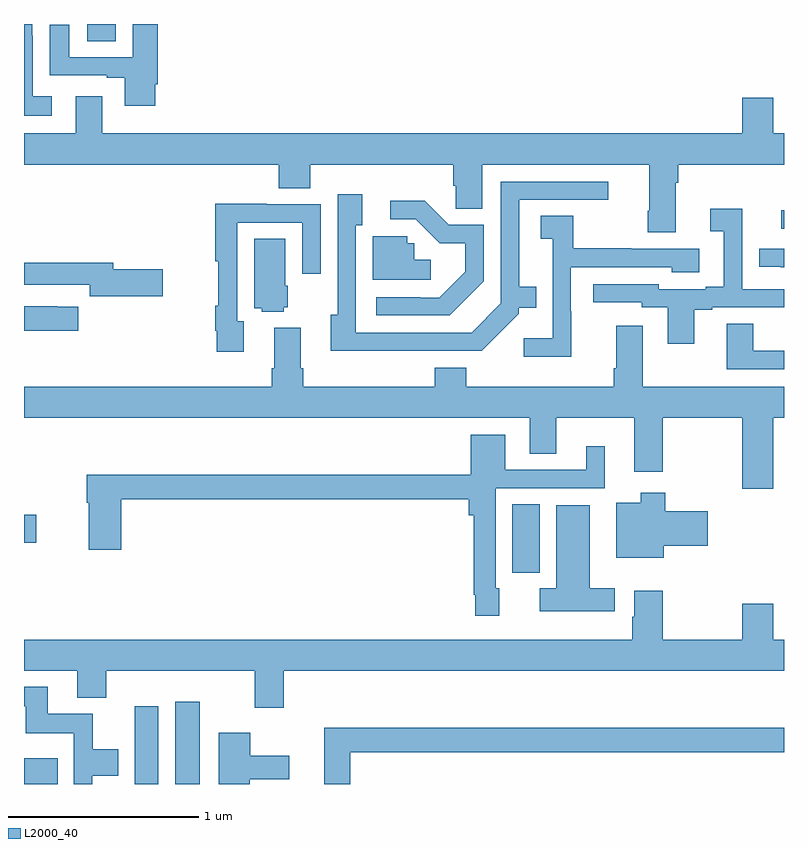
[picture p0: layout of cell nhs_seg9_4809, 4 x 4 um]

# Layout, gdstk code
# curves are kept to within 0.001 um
import gdstk
lib = gdstk.Library(unit=1e-6, precision=1e-09)
def R(c, l, rs):  # rectangles x0, y0, x1, y1
    for r in rs: c.add(gdstk.rectangle(r[:2], r[2:], *l))
def P(c, l, *ps):  # polygons
    for p in ps: c.add(gdstk.Polygon(p, *l))
L2000_40 = (2000, 40)

nhs_seg9_4809 = lib.new_cell('nhs_seg9_4809')
R(nhs_seg9_4809, L2000_40, [(389,1186.5,389.177,1186.636), (389.582,1186.5,389.707,1186.909), (389.795,1186.5,389.926,1186.933), (391.571,1187.611,391.714,1187.972), (389,1187.771,389.065,1187.918), (392.985,1189.422,393,1189.521), (389.333,1190.41,389.482,1190.5)])
P(nhs_seg9_4809, L2000_40, [(389.146,1190.119),(389.047,1190.119),(389.047,1190.438),(389.043,1190.438),(389.043,1190.5),(389,1190.5),(389,1190.018),(389.146,1190.018)],
  [(389.692,1190.182),(389.705,1190.182),(389.705,1190.5),(389.573,1190.5),(389.573,1190.325),(389.239,1190.325),(389.239,1190.497),(389.135,1190.497),(389.135,1190.229),(389.435,1190.229),(389.435,1190.217),(389.531,1190.217),(389.531,1190.07),(389.692,1190.07)],
  [(392.431,1189.664),(392.444,1189.664),(392.444,1189.76),(393,1189.76),(393,1189.924),(392.944,1189.924),(392.944,1190.113),(392.78,1190.113),(392.78,1189.924),(389.413,1189.924),(389.413,1190.119),(389.273,1190.119),(389.273,1189.924),(389,1189.924),(389,1189.76),(390.341,1189.76),(390.341,1189.636),(390.506,1189.636),(390.506,1189.76),(391.259,1189.76),(391.259,1189.65),(391.273,1189.65),(391.273,1189.528),(391.411,1189.528),(391.411,1189.76),(392.291,1189.76),(392.291,1189.516),(392.284,1189.516),(392.284,1189.404),(392.431,1189.404)],
  [(391.079,1188.78),(391.41,1188.78),(391.605,1188.975),(391.605,1189.007),(391.697,1189.007),(391.697,1189.117),(391.606,1189.117),(391.606,1189.575),(392.074,1189.575),(392.074,1189.671),(391.509,1189.671),(391.509,1189.029),(391.356,1188.876),(390.747,1188.876),(390.747,1189.442),(390.781,1189.442),(390.781,1189.603),(390.651,1189.603),(390.651,1188.97),(390.614,1188.97),(390.614,1188.779)],
  [(391.419,1189.145),(391.419,1189.443),(391.236,1189.443),(391.108,1189.571),(390.927,1189.571),(390.927,1189.473),(391.062,1189.473),(391.189,1189.346),(391.322,1189.346),(391.322,1189.196),(391.185,1189.059),(391.085,1189.059),(391.085,1189.062),(390.855,1189.062),(390.855,1188.966),(391.24,1188.966)],
  [(390.157,1188.935),(390.123,1188.935),(390.123,1189.455),(390.465,1189.455),(390.465,1189.185),(390.561,1189.185),(390.561,1189.551),(390.277,1189.551),(390.277,1189.555),(390.007,1189.555),(390.007,1189.251),(390.022,1189.251),(390.022,1189.018),(390.007,1189.018),(390.007,1188.886),(390.015,1188.886),(390.015,1188.774),(390.157,1188.774)],
  [(392.527,1188.996),(392.623,1188.996),(392.623,1189.008),(393,1189.008),(393,1189.104),(392.781,1189.104),(392.781,1189.528),(392.613,1189.528),(392.613,1189.408),(392.684,1189.408),(392.684,1189.117),(392.588,1189.117),(392.588,1189.104),(392.34,1189.104),(392.34,1189.131),(391.995,1189.131),(391.995,1189.035),(392.25,1189.035),(392.25,1189.008),(392.387,1189.008),(392.387,1188.816),(392.527,1188.816)],
  [(391.881,1188.989),(391.878,1188.989),(391.878,1189.221),(392.409,1189.221),(392.409,1189.193),(392.554,1189.193),(392.554,1189.317),(392.195,1189.317),(392.195,1189.32),(391.891,1189.32),(391.891,1189.49),(391.719,1189.49),(391.719,1189.369),(391.782,1189.369),(391.782,1188.847),(391.629,1188.847),(391.629,1188.749),(391.881,1188.749)],
  [(391.141,1189.258),(391.053,1189.258),(391.053,1189.347),(391.017,1189.347),(391.017,1189.383),(390.836,1189.383),(390.836,1189.155),(391.141,1189.155)],
  [(390.366,1189.008),(390.388,1189.008),(390.388,1189.122),(390.376,1189.122),(390.376,1189.37),(390.212,1189.37),(390.212,1189.004),(390.252,1189.004),(390.252,1188.986),(390.366,1188.986)],
  [(393,1189.317),(392.871,1189.317),(392.871,1189.222),(392.983,1189.222),(392.983,1189.221),(393,1189.221)],
  [(389.731,1189.208),(389.47,1189.208),(389.47,1189.244),(389,1189.244),(389,1189.128),(389.345,1189.128),(389.345,1189.068),(389.446,1189.068),(389.446,1189.066),(389.731,1189.066)],
  [(389.285,1189.013),(389.174,1189.013),(389.174,1189.015),(389,1189.015),(389,1188.886),(389.285,1188.886)],
  [(393,1188.78),(392.839,1188.78),(392.839,1188.923),(392.699,1188.923),(392.699,1188.684),(393,1188.684)],
  [(392.944,1188.428),(393,1188.428),(393,1188.592),(392.257,1188.592),(392.257,1188.913),(392.117,1188.913),(392.117,1188.688),(392.105,1188.688),(392.105,1188.592),(391.328,1188.592),(391.328,1188.691),(391.163,1188.691),(391.163,1188.592),(390.47,1188.592),(390.47,1188.688),(390.457,1188.688),(390.457,1188.901),(390.317,1188.901),(390.317,1188.688),(390.305,1188.688),(390.305,1188.592),(389,1188.592),(389,1188.428),(391.661,1188.428),(391.661,1188.238),(391.801,1188.238),(391.801,1188.428),(392.213,1188.428),(392.213,1188.144),(392.361,1188.144),(392.361,1188.428),(392.78,1188.428),(392.78,1188.054),(392.944,1188.054)],
  [(391.501,1187.529),(391.482,1187.529),(391.482,1188.057),(392.056,1188.057),(392.056,1188.277),(391.958,1188.277),(391.958,1188.153),(391.534,1188.153),(391.534,1188.337),(391.352,1188.337),(391.352,1188.127),(389.33,1188.127),(389.33,1187.981),(389.342,1187.981),(389.342,1187.733),(389.513,1187.733),(389.513,1187.998),(391.34,1187.998),(391.34,1187.915),(391.366,1187.915),(391.366,1187.497),(391.374,1187.497),(391.374,1187.385),(391.501,1187.385)],
  [(392.368,1187.753),(392.599,1187.753),(392.599,1187.936),(392.376,1187.936),(392.376,1188.034),(392.246,1188.034),(392.246,1187.98),(392.117,1187.98),(392.117,1187.69),(392.368,1187.69)],
  [(392.11,1187.53),(391.978,1187.53),(391.978,1187.968),(391.802,1187.968),(391.802,1187.53),(391.714,1187.53),(391.714,1187.408),(392.11,1187.408)],
  [(390.368,1187.096),(393,1187.096),(393,1187.26),(392.944,1187.26),(392.944,1187.449),(392.78,1187.449),(392.78,1187.26),(392.361,1187.26),(392.361,1187.518),(392.213,1187.518),(392.213,1187.381),(392.201,1187.381),(392.201,1187.26),(389,1187.26),(389,1187.096),(389.279,1187.096),(389.279,1186.955),(389.432,1186.955),(389.432,1187.096),(390.215,1187.096),(390.215,1186.902),(390.368,1186.902)],
  [(389.358,1186.544),(389.497,1186.544),(389.497,1186.684),(389.361,1186.684),(389.361,1186.87),(389.125,1186.87),(389.125,1187.011),(389,1187.011),(389,1186.908),(389.009,1186.908),(389.009,1186.766),(389.262,1186.766),(389.262,1186.5),(389.358,1186.5)],
  [(390.716,1186.666),(393,1186.666),(393,1186.795),(390.581,1186.795),(390.581,1186.5),(390.716,1186.5)],
  [(390.188,1186.526),(390.397,1186.526),(390.397,1186.648),(390.19,1186.648),(390.19,1186.771),(390.026,1186.771),(390.026,1186.5),(390.188,1186.5)])

lib.write_gds('nhs_seg9_4809.gds')
